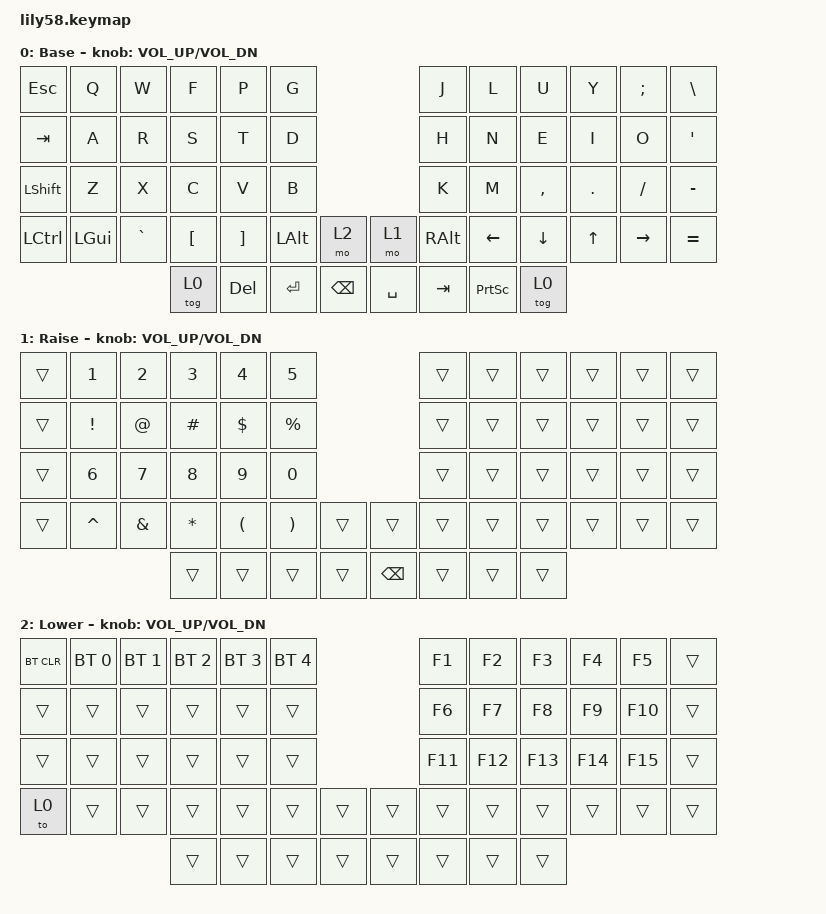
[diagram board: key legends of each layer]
/*
 * Copyright (c) 2020 The ZMK Contributors
 *
 * SPDX-License-Identifier: MIT
 */

#include <behaviors.dtsi>
#include <dt-bindings/zmk/bt.h>
#include <dt-bindings/zmk/keys.h>

/ {
    keymap {
        compatible = "zmk,keymap";

        Main {
            // ------------------------------------------------------------------------------------------------------------
            // |  ESC  |  1  |  2  |  3   |  4   |  5   |                   |  6   |  7    |  8    |  9   |   0   |   `   |
            // |  TAB  |  Q  |  W  |  E   |  R   |  T   |                   |  Y   |  U    |  I    |  O   |   P   |   -   |
            // |  CTRL |  A  |  S  |  D   |  F   |  G   |                   |  H   |  J    |  K    |  L   |   ;   |   '   |
            // | SHIFT |  Z  |  X  |  C   |  V   |  B   |   "["  |  |  "]"  |  N   |  M    |  ,    |  .   |   /   | SHIFT |
            //                     | ALT  | GUI  | LOWER|  SPACE |  | ENTER | RAISE| BSPC  | GUI   |

            display-name = "Base";
            bindings = <
&kp ESC         &kp Q         &kp W      &kp F             &kp P              &kp G                                     &kp J          &kp L            &kp U           &kp Y         &kp SEMICOLON  &kp BACKSLASH
&kp TAB         &kp A         &kp R      &kp S             &kp T              &kp D                                     &kp H          &kp N            &kp E           &kp I         &kp O          &kp SQT
&kp LEFT_SHIFT  &kp Z         &kp X      &kp C             &kp V              &kp B                                     &kp K          &kp M            &kp COMMA       &kp DOT       &kp SLASH      &kp MINUS
&kp LCTRL       &kp LEFT_GUI  &kp GRAVE  &kp LEFT_BRACKET  &kp RIGHT_BRACKET  &kp LEFT_ALT  &mo 2            &mo 1      &kp RIGHT_ALT  &kp LEFT         &kp DOWN_ARROW  &kp UP_ARROW  &kp RIGHT      &kp EQUAL
                                         &tog 0            &kp DELETE         &kp ENTER     &kp BACKSPACE    &kp SPACE  &kp TAB        &kp PRINTSCREEN  &tog 0
            >;

            sensor-bindings = <&inc_dec_kp C_VOL_UP C_VOL_DN>;
        };

        NumFunc {
            // ------------------------------------------------------------------------------------------------------------
            // |       |     |     |      |      |      |                   |      |       |       |      |       |       |
            // |   `   |  1  |  2  |  3   |  4   |  5   |                   |  6   |   7   |   8   |  9   |   0   |       |
            // |   F1  |  F2 |  F3 |  F4  |  F5  |  F6  |                   |      |   <-  |   v   |  ^   |  ->   |       |
            // |   F7  |  F8 |  F9 |  F10 |  F11 |  F12 |        |  |       |  +   |   -   |   =   |  [   |   ]   |   \   |
            //                     |      |      |      |        |  |       |      |       |       |

            display-name = "Raise";
            bindings = <
&trans  &kp N1           &kp N2         &kp N3        &kp N4                &kp N5                                          &trans  &trans  &trans  &trans  &trans  &trans
&trans  &kp EXCLAMATION  &kp AT_SIGN    &kp HASH      &kp DOLLAR            &kp PERCENT                                     &trans  &trans  &trans  &trans  &trans  &trans
&trans  &kp N6           &kp N7         &kp N8        &kp N9                &kp N0                                          &trans  &trans  &trans  &trans  &trans  &trans
&trans  &kp CARET        &kp AMPERSAND  &kp ASTERISK  &kp LEFT_PARENTHESIS  &kp RIGHT_PARENTHESIS  &trans    &trans         &trans  &trans  &trans  &trans  &trans  &trans
                                        &trans        &trans                &trans                 &trans    &kp BACKSPACE  &trans  &trans  &trans
            >;

            sensor-bindings = <&inc_dec_kp C_VOL_UP C_VOL_DN>;
        };

        Command {
            // ------------------------------------------------------------------------------------------------------------
            // | BTCLR | BT1 | BT2 |  BT3 |  BT4 |  BT5 |                   |      |       |       |      |       |       |
            // |  F1   |  F2 |  F3 |  F4  |  F5  |  F6  |                   |  F7  |  F8   |  F9   |  F10 |  F11  |  F12  |
            // |   `   |  !  |  @  |  #   |  $   |  %   |                   |  ^   |  &    |  *    |  (   |   )   |   ~   |
            // |       |     |     |      |      |      |        |  |       |      |  _    |  +    |  {   |   }   |  "|"  |
            //                     |      |      |      |        |  |       |      |       |       |

            display-name = "Lower";
            bindings = <
&bt BT_CLR  &bt BT_SEL 0  &bt BT_SEL 1  &bt BT_SEL 2  &bt BT_SEL 3  &bt BT_SEL 4                    &kp F1   &kp F2   &kp F3   &kp F4   &kp F5   &trans
&trans      &trans        &trans        &trans        &trans        &trans                          &kp F6   &kp F7   &kp F8   &kp F9   &kp F10  &trans
&trans      &trans        &trans        &trans        &trans        &trans                          &kp F11  &kp F12  &kp F13  &kp F14  &kp F15  &trans
&to 0       &trans        &trans        &trans        &trans        &trans        &trans    &trans  &trans   &trans   &trans   &trans   &trans   &trans
                                        &trans        &trans        &trans        &trans    &trans  &trans   &trans   &trans
            >;

            sensor-bindings = <&inc_dec_kp C_VOL_UP C_VOL_DN>;
        };
    };
};
